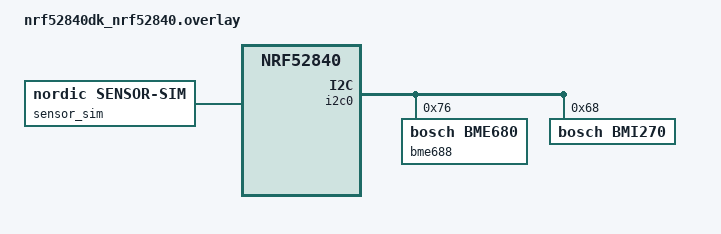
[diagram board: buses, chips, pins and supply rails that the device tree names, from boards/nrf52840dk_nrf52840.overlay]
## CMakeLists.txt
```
#
# Copyright (c) 2018 Nordic Semiconductor
#
# SPDX-License-Identifier: LicenseRef-Nordic-5-Clause
#
cmake_minimum_required(VERSION 3.20.0)

find_package(Zephyr REQUIRED HINTS $ENV{ZEPHYR_BASE})
project(sensor_node)

# NORDIC SDK APP START
target_sources(app PRIVATE
  src/main.c src/sensor_data_collector.c src/sensor_data_storage.c
)
target_include_directories(app PRIVATE inc)
# NORDIC SDK APP END
```

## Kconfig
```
#
# Copyright (c) 2018 Nordic Semiconductor
#
# SPDX-License-Identifier: LicenseRef-Nordic-5-Clause
#

source "Kconfig.zephyr"

menu "Sensor Node"

config BT_LBS_SECURITY_ENABLED
	bool "Enable security"
	default y
	select BT_SMP
	select BT_SETTINGS
	select FLASH
	select FLASH_PAGE_LAYOUT
	select FLASH_MAP
	select NVS
	select SETTINGS
	help
	  "Enable BLE security for the LED-Button service"
config CONNECTABLE_ADV_INTERVAL_MIN
	int "Connectable advertising minimum interval"
	default 4800
	help
	  Connectable advertising minimum interval in 0.625 milliseconds unit.

config CONNECTABLE_ADV_INTERVAL_MAX
	int "Connectable advertising maximum interval"
	default 4808
	help
	  Connectable advertising maximum interval in 0.625 milliseconds unit.
config APP_CONTROL_SAMPLING_INTERVAL_S
	int "sample interval [s]"
	range 10 5400
	default 10
	help
	  Time in seconds between sample data acquisition from sensors
config SIMULATED_SENSOR
	bool "Enable simulated sensor"
	default n
	help
	  In case you don't have environmental and IMU sensors, enabling this option will 
	  build a simulated sensor driver	
endmenu
```

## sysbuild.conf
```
SB_CONFIG_PARTITION_MANAGER=y
#Enable MCUboot bootloader support
SB_CONFIG_BOOTLOADER_MCUBOOT=y
#DO NOT FORGET TO USE YOUR OWN PRIVATE KEY FOR SIGNING THE IMAGE
#SB_CONFIG_BOOT_SIGNATURE_KEY_FILE="/home/my_ubuntu/my_precious_key/priv.pem"
```

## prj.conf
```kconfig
#
# Copyright (c) 2018 Nordic Semiconductor
#
# SPDX-License-Identifier: LicenseRef-Nordic-5-Clause
#
CONFIG_NCS_SAMPLES_DEFAULTS=y

CONFIG_BT=y
CONFIG_BT_PERIPHERAL=y
CONFIG_BT_DEVICE_NAME="Sensor Node"
CONFIG_BT_BUF_ACL_RX_SIZE=502
CONFIG_BT_BUF_ACL_TX_SIZE=502
CONFIG_BT_L2CAP_TX_MTU=498
CONFIG_BT_CTLR_DATA_LENGTH_MAX=251

# Enable the LBS service
CONFIG_BT_LBS=y
CONFIG_BT_LBS_POLL_BUTTON=y
CONFIG_DK_LIBRARY=y

CONFIG_SYSTEM_WORKQUEUE_STACK_SIZE=2048

#Enable Sensor API
CONFIG_SENSOR=y

#Enable NSMS Service
CONFIG_BT_NSMS=y

#Enable float string formatting
CONFIG_NEWLIB_LIBC=y
CONFIG_NEWLIB_LIBC_FLOAT_PRINTF=y
```

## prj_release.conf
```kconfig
#
# Copyright (c) 2018 Nordic Semiconductor
#
# SPDX-License-Identifier: LicenseRef-Nordic-5-Clause
#
CONFIG_NCS_SAMPLES_DEFAULTS=n

CONFIG_BT=y
CONFIG_BT_PERIPHERAL=y
CONFIG_BT_DEVICE_NAME="Sensor Node"
CONFIG_BT_BUF_ACL_RX_SIZE=502
CONFIG_BT_BUF_ACL_TX_SIZE=502
CONFIG_BT_L2CAP_TX_MTU=498
CONFIG_BT_CTLR_DATA_LENGTH_MAX=251

# Enable the LBS service
CONFIG_BT_LBS=y
CONFIG_BT_LBS_POLL_BUTTON=y
CONFIG_DK_LIBRARY=y

CONFIG_SYSTEM_WORKQUEUE_STACK_SIZE=2048

#Enable Sensor API
CONFIG_SENSOR=y

#Enable NSMS Service
CONFIG_BT_NSMS=y

#Enable float string formatting
CONFIG_NEWLIB_LIBC=y
CONFIG_NEWLIB_LIBC_FLOAT_PRINTF=y

#Power optimization
CONFIG_SERIAL=n
CONFIG_CONSOLE=n
CONFIG_UART_CONSOLE=n

#Request Low-Power Connection Parameters 
CONFIG_BT_PERIPHERAL_PREF_MIN_INT=100
CONFIG_BT_PERIPHERAL_PREF_MAX_INT=120
CONFIG_BT_PERIPHERAL_PREF_TIMEOUT=200
CONFIG_BT_PERIPHERAL_PREF_LATENCY=2

#Enable FOTA over Bluetooth LE
CONFIG_NCS_SAMPLE_MCUMGR_BT_OTA_DFU=y
```

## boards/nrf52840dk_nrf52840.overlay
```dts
// To get started, press Ctrl+Space to bring up the completion menu and view the available nodes.

// You can also use the buttons in the sidebar to perform actions on nodes.
// Actions currently available include:

// * Enabling / disabling the node
// * Adding the bus to a bus
// * Removing the node
// * Connecting ADC channels

// For more help, browse the DeviceTree documentation at https://docs.zephyrproject.org/latest/guides/dts/index.html
// You can also visit the nRF DeviceTree extension documentation at https://docs.nordicsemi.com/bundle/nrf-connect-vscode/page/guides/ncs_configure_app.html#devicetree-support-in-the-extension

/ {
	sensor_sim: sensor_sim{
		compatible = "nordic,sensor-sim";
		acc-signal = "wave";
		acc-wave-type = "triangle";
		acc-wave-amplitude = < 10 >;

	};
};

&i2c0 {
	status = "okay";

	bme688: bme688@76 {
		compatible = "bosch,bme680";
		status = "okay";
		reg = <0x76>;
	};

	bmi270: bmi270@68 {
		compatible = "bosch,bmi270";
		status = "okay";
		reg = <0x68>;
	};
};

/ {
	chosen {
		nordic,pm-ext-flash = &mx25r64;
	};
};
&usbd {
	status = "disabled";
};

&spi3 {
	status = "disabled";
};

&pwm0 {
	status = "disabled";
};

&spi1 {
	status = "disabled";
};
```

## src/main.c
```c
/*
 * Copyright (c) 2018 Nordic Semiconductor ASA
 *
 * SPDX-License-Identifier: LicenseRef-Nordic-5-Clause
 */

#include <zephyr/types.h>
#include <stddef.h>
#include <string.h>
#include <errno.h>
#include <zephyr/sys/printk.h>
#include <zephyr/sys/byteorder.h>
#include <zephyr/kernel.h>
#include <zephyr/drivers/gpio.h>
#include <soc.h>

#include <zephyr/bluetooth/bluetooth.h>
#include <zephyr/bluetooth/hci.h>
#include <zephyr/bluetooth/conn.h>
#include <zephyr/bluetooth/uuid.h>
#include <zephyr/bluetooth/gatt.h>

#include <bluetooth/services/lbs.h>

#include <zephyr/settings/settings.h>

#include <dk_buttons_and_leds.h>

#define DEVICE_NAME	CONFIG_BT_DEVICE_NAME
#define DEVICE_NAME_LEN (sizeof(DEVICE_NAME) - 1)

#define RUN_STATUS_LED	       DK_LED1
#define CON_STATUS_LED	       DK_LED2
#define RUN_LED_BLINK_INTERVAL 1000

#define USER_LED DK_LED3

#define USER_BUTTON DK_BTN1_MSK

static bool app_button_state;
static const struct bt_le_adv_param *connectable_ad_params =
	BT_LE_ADV_PARAM(BT_LE_ADV_OPT_CONNECTABLE,
			CONFIG_CONNECTABLE_ADV_INTERVAL_MIN,
			CONFIG_CONNECTABLE_ADV_INTERVAL_MAX,
			NULL);

static const struct bt_data ad[] = {
	BT_DATA_BYTES(BT_DATA_FLAGS, (BT_LE_AD_GENERAL | BT_LE_AD_NO_BREDR)),
	BT_DATA(BT_DATA_NAME_COMPLETE, DEVICE_NAME, DEVICE_NAME_LEN),
};

static const struct bt_data sd[] = {
	BT_DATA_BYTES(BT_DATA_UUID128_ALL, BT_UUID_LBS_VAL),
};

static void connected(struct bt_conn *conn, uint8_t err)
{
	if (err) {
		printk("Connection failed (err %u)\n", err);
		return;
	}

	printk("Connected\n");

	dk_set_led_on(CON_STATUS_LED);
}

static void disconnected(struct bt_conn *conn, uint8_t reason)
{
	printk("Disconnected (reason %u)\n", reason);

	dk_set_led_off(CON_STATUS_LED);
}

#ifdef CONFIG_BT_LBS_SECURITY_ENABLED
static void security_changed(struct bt_conn *conn, bt_security_t level, enum bt_security_err err)
{
	char addr[BT_ADDR_LE_STR_LEN];

	bt_addr_le_to_str(bt_conn_get_dst(conn), addr, sizeof(addr));

	if (!err) {
		printk("Security changed: %s level %u\n", addr, level);
	} else {
		printk("Security failed: %s level %u err %d\n", addr, level, err);
	}
}
#endif

BT_CONN_CB_DEFINE(conn_callbacks) = {
	.connected = connected,
	.disconnected = disconnected,
#ifdef CONFIG_BT_LBS_SECURITY_ENABLED
	.security_changed = security_changed,
#endif
};

#if defined(CONFIG_BT_LBS_SECURITY_ENABLED)
static void auth_passkey_display(struct bt_conn *conn, unsigned int passkey)
{
	char addr[BT_ADDR_LE_STR_LEN];

	bt_addr_le_to_str(bt_conn_get_dst(conn), addr, sizeof(addr));

	printk("Passkey for %s: %06u\n", addr, passkey);
}

static void auth_cancel(struct bt_conn *conn)
{
	char addr[BT_ADDR_LE_STR_LEN];

	bt_addr_le_to_str(bt_conn_get_dst(conn), addr, sizeof(addr));

	printk("Pairing cancelled: %s\n", addr);
}

static void pairing_complete(struct bt_conn *conn, bool bonded)
{
	char addr[BT_ADDR_LE_STR_LEN];

	bt_addr_le_to_str(bt_conn_get_dst(conn), addr, sizeof(addr));

	printk("Pairing completed: %s, bonded: %d\n", addr, bonded);
}

static void pairing_failed(struct bt_conn *conn, enum bt_security_err reason)
{
	char addr[BT_ADDR_LE_STR_LEN];

	bt_addr_le_to_str(bt_conn_get_dst(conn), addr, sizeof(addr));

	printk("Pairing failed conn: %s, reason %d\n", addr, reason);
}

static struct bt_conn_auth_cb conn_auth_callbacks = {
	.passkey_display = auth_passkey_display,
	.cancel = auth_cancel,
};

static struct bt_conn_auth_info_cb conn_auth_info_callbacks = {.pairing_complete = pairing_complete,
							       .pairing_failed = pairing_failed};
#else
static struct bt_conn_auth_cb conn_auth_callbacks;
static struct bt_conn_auth_info_cb conn_auth_info_callbacks;
#endif

static void app_led_cb(bool led_state)
{
	dk_set_led(USER_LED, led_state);
}

static bool app_button_cb(void)
{
	return app_button_state;
}

static struct bt_lbs_cb lbs_callbacs = {
	.led_cb = app_led_cb,
	.button_cb = app_button_cb,
};

static void button_changed(uint32_t button_state, uint32_t has_changed)
{
	if (has_changed & USER_BUTTON) {
		uint32_t user_button_state = button_state & USER_BUTTON;

		bt_lbs_send_button_state(user_button_state);
		app_button_state = user_button_state ? true : false;
	}
}

static int init_button(void)
{
	int err;

	err = dk_buttons_init(button_changed);
	if (err) {
		printk("Cannot init buttons (err: %d)\n", err);
	}

	return err;
}

int main(void)
{
	int blink_status = 0;
	int err;

	printk("Starting Bluetooth Peripheral LBS example\n");

	err = dk_leds_init();
	if (err) {
		printk("LEDs init failed (err %d)\n", err);
		return 0;
	}

	err = init_button();
	if (err) {
		printk("Button init failed (err %d)\n", err);
		return 0;
	}

	if (IS_ENABLED(CONFIG_BT_LBS_SECURITY_ENABLED)) {
		err = bt_conn_auth_cb_register(&conn_auth_callbacks);
		if (err) {
			printk("Failed to register authorization callbacks.\n");
			return 0;
		}

		err = bt_conn_auth_info_cb_register(&conn_auth_info_callbacks);
		if (err) {
			printk("Failed to register authorization info callbacks.\n");
			return 0;
		}
	}

	err = bt_enable(NULL);
	if (err) {
		printk("Bluetooth init failed (err %d)\n", err);
		return 0;
	}

	printk("Bluetooth initialized\n");

	if (IS_ENABLED(CONFIG_SETTINGS)) {
		settings_load();
	}

	err = bt_lbs_init(&lbs_callbacs);
	if (err) {
		printk("Failed to init LBS (err:%d)\n", err);
		return 0;
	}

	err = bt_le_adv_start(connectable_ad_params, ad, ARRAY_SIZE(ad), sd, ARRAY_SIZE(sd));
	if (err) {
		printk("Advertising failed to start (err %d)\n", err);
		return 0;
	}

	printk("Advertising successfully started\n");

	for (;;) {
		dk_set_led(RUN_STATUS_LED, (++blink_status) % 2);
		k_sleep(K_MSEC(RUN_LED_BLINK_INTERVAL));
	}
}
```

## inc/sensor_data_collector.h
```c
#ifndef SENSOR_DATA_COLLECTOR_H
#define SENSOR_DATA_COLLECTOR_H
#include <zephyr/drivers/sensor.h>

struct k_msgq *get_sensor_readings_queue(void);

typedef struct {
	struct sensor_value temp;     // BME688
	struct sensor_value press;    // BME688
	struct sensor_value humidity; // BME688
#ifndef CONFIG_SIMULATED_SENSOR
	struct sensor_value gas_res; // BME688
	struct sensor_value gyr[3];  // BMI270
#endif
	struct sensor_value acc[3]; // BMI270
} sensorsreadings;

#ifndef CONFIG_SIMULATED_SENSOR
#define ENV_VALUES_CNT 4
#else
#define ENV_VALUES_CNT 3
#endif

#endif
```

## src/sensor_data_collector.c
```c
#include <stdio.h>
#include <zephyr/kernel.h>
#include <zephyr/device.h>
#include <zephyr/devicetree.h>
#include <zephyr/drivers/sensor.h>
#include <zephyr/bluetooth/conn.h>
#include <bluetooth/services/nsms.h>
#include "sensor_data_collector.h"

#define SENSOR_THREAD_PRIORITY	7
#define SENSOR_THREAD_STACKSIZE 1024
#define BT_UUID_CSERVICE_VAL	BT_UUID_128_ENCODE(0xc2768000, 0xc410, 0x47e5, 0xbda9, 0x97fa0b0b9a99)
#define BT_UUID_INTERVAL_VAL	BT_UUID_128_ENCODE(0xc2768001, 0x1212, 0xefde, 0x1523, 0x785feabcd123)
#define BT_UUID_C_SERVICE	BT_UUID_DECLARE_128(BT_UUID_CSERVICE_VAL)
#define BT_UUID_S_INTERVAL	BT_UUID_DECLARE_128(BT_UUID_INTERVAL_VAL)
#define BUF_SIZE		64
K_MSGQ_DEFINE(sensor_readings_queue, sizeof(sensorsreadings), 16, 4);
BT_NSMS_DEF(nsms_imu, "IMU", false, "Unknown", BUF_SIZE);
BT_NSMS_DEF(nsms_env, "Environmental", false, "Unknown", BUF_SIZE);
static struct bt_conn *current_conn = NULL;
static int16_t sampling_interval = CONFIG_APP_CONTROL_SAMPLING_INTERVAL_S;
extern const k_tid_t sensor_data_collector_id;
static ssize_t sampling_interval_read(struct bt_conn *conn, const struct bt_gatt_attr *attr,
				      void *buf, uint16_t len, uint16_t offset)
{
	return bt_gatt_attr_read(conn, attr, buf, len, offset, &sampling_interval,
				 sizeof(sampling_interval));
}

static ssize_t sampling_interval_write(struct bt_conn *conn, const struct bt_gatt_attr *attr,
				       const void *buf, uint16_t len, uint16_t offset,
				       uint8_t flags)
{
	uint16_t new_interval;
	if (len != sizeof(sampling_interval)) {
		return BT_GATT_ERR(BT_ATT_ERR_INVALID_ATTRIBUTE_LEN);
	}

	memcpy(&new_interval, buf, sizeof(new_interval));

	if (new_interval < 10 || new_interval > 5400) {
		printk("Sampling interval out of allowed range: %d\n", new_interval);
		return BT_GATT_ERR(BT_ATT_ERR_INVALID_ATTRIBUTE_LEN);
	}

	sampling_interval = new_interval;
	k_wakeup(sensor_data_collector_id);
	printk("New sampling interval %d seconds\n", new_interval);
	return len;
}

BT_GATT_SERVICE_DEFINE(
	custom_interval_svc, BT_GATT_PRIMARY_SERVICE(BT_UUID_C_SERVICE),
	BT_GATT_CHARACTERISTIC(BT_UUID_S_INTERVAL, // Sampling Interval Characteristic
			       BT_GATT_CHRC_READ | BT_GATT_CHRC_WRITE,
			       BT_GATT_PERM_READ | BT_GATT_PERM_WRITE, sampling_interval_read,
			       sampling_interval_write, &sampling_interval)

);
static void connected(struct bt_conn *conn, uint8_t err)
{
	current_conn = bt_conn_ref(conn);
}

static void disconnected(struct bt_conn *conn, uint8_t reason)
{
	if (current_conn) {
		bt_conn_unref(current_conn);
		current_conn = NULL;
	}
}

BT_CONN_CB_DEFINE(conn_callbacks1) = {
	.connected = connected,
	.disconnected = disconnected,

};
static bool send_sensor_value(const struct sensor_value *val, size_t size, const char *channel)
{
	float float_data[size];
	char buf[BUF_SIZE];

	int len = sprintf(buf, "%s ", channel);

	for (size_t i = 0; i < size; i++) {
		float_data[i] = sensor_value_to_float(&val[i]);

		len += sprintf(buf + len, "%.6f ", (double)float_data[i]);
	}

	if (!strcmp(channel, "gyr")) {
		bt_nsms_set_status(&nsms_imu, buf);
	} else if (!strcmp(channel, "acc")) {
		bt_nsms_set_status(&nsms_imu, buf);
	} else {
		bt_nsms_set_status(&nsms_env, buf);
	}

	return true;
}

#ifdef CONFIG_SIMULATED_SENSOR
static const struct device *get_simulated_sensor(void)
{
	const struct device *const dev = DEVICE_DT_GET(DT_NODELABEL(sensor_sim));

	if (dev == NULL) {
		/* No such node, or the node does not have status "okay". */
		printk("\nError: no device found.\n");
		return NULL;
	}

	if (!device_is_ready(dev)) {
		printk("\nError: Device \"%s\" is not ready; "
		       "check the driver initialization logs for errors.\n",
		       dev->name);
		return NULL;
	}

	printk("Found device \"%s\", getting sensor data\n", dev->name);
	return dev;
}
#else
static const struct device *get_bme688_sensor(void)
{
	const struct device *const dev = DEVICE_DT_GET(DT_NODELABEL(bme688));
	;

	if (dev == NULL) {
		/* No such node, or the node does not have status "okay". */
		printk("\nError: no device found.\n");
		return NULL;
	}

	if (!device_is_ready(dev)) {
		printk("\nError: Device \"%s\" is not ready; "
		       "check the driver initialization logs for errors.\n",
		       dev->name);
		return NULL;
	}

	printk("Found device \"%s\", getting sensor data\n", dev->name);
	return dev;
}

static const struct device *get_bmi270_sensor(void)
{
	const struct device *const dev = DEVICE_DT_GET(DT_NODELABEL(bmi270));
	struct sensor_value full_scale, sampling_freq, oversampling;

	if (dev == NULL) {
		/* No such node, or the node does not have status "okay". */
		printk("\nError: no device found.\n");
		return NULL;
	}

	if (!device_is_ready(dev)) {
		printk("\nError: Device \"%s\" is not ready; "
		       "check the driver initialization logs for errors.\n",
		       dev->name);
		return NULL;
	}
	/* Setting scale in G, due to loss of precision if the SI unit m/s^2
	 * is used
	 */
	full_scale.val1 = 2; /* G */
	full_scale.val2 = 0;
	sampling_freq.val1 = 100; /* Hz. Performance mode */
	sampling_freq.val2 = 0;
	oversampling.val1 = 1; /* Normal mode */
	oversampling.val2 = 0;

	sensor_attr_set(dev, SENSOR_CHAN_ACCEL_XYZ, SENSOR_ATTR_FULL_SCALE, &full_scale);
	sensor_attr_set(dev, SENSOR_CHAN_ACCEL_XYZ, SENSOR_ATTR_OVERSAMPLING, &oversampling);
	/* Set sampling frequency last as this also sets the appropriate
	 * power mode. If already sampling, change to 0.0Hz before changing
	 * other attributes
	 */
	sensor_attr_set(dev, SENSOR_CHAN_ACCEL_XYZ, SENSOR_ATTR_SAMPLING_FREQUENCY, &sampling_freq);

	/* Setting scale in degrees/s to match the sensor scale */
	full_scale.val1 = 500; /* dps */
	full_scale.val2 = 0;
	sampling_freq.val1 = 100; /* Hz. Performance mode */
	sampling_freq.val2 = 0;
	oversampling.val1 = 1; /* Normal mode */
	oversampling.val2 = 0;

	sensor_attr_set(dev, SENSOR_CHAN_GYRO_XYZ, SENSOR_ATTR_FULL_SCALE, &full_scale);
	sensor_attr_set(dev, SENSOR_CHAN_GYRO_XYZ, SENSOR_ATTR_OVERSAMPLING, &oversampling);
	/* Set sampling frequency last as this also sets the appropriate
	 * power mode. If already sampling, change sampling frequency to
	 * 0.0Hz before changing other attributes
	 */
	sensor_attr_set(dev, SENSOR_CHAN_GYRO_XYZ, SENSOR_ATTR_SAMPLING_FREQUENCY, &sampling_freq);
	printk("Found device \"%s\", getting sensor data\n", dev->name);
	return dev;
}

#endif

int sensor_data_collector(void)
{
#ifdef CONFIG_SIMULATED_SENSOR    
	const struct device *sim_dev = get_simulated_sensor();

	if (sim_dev == NULL) {
		return 0;
	}

	while (1) {
		sensorsreadings value;
		sensor_sample_fetch(sim_dev);
		// Simulated sensor
		sensor_channel_get(sim_dev, SENSOR_CHAN_AMBIENT_TEMP, &value.temp);
		sensor_channel_get(sim_dev, SENSOR_CHAN_PRESS, &value.press);
		sensor_channel_get(sim_dev, SENSOR_CHAN_HUMIDITY, &value.humidity);
		sensor_channel_get(sim_dev, SENSOR_CHAN_ACCEL_XYZ, value.acc);

		printk("Sensor Thread Reporting!\n");
		printk("AX: %d.%06d; AY: %d.%06d; AZ: %d.%06d\n", value.acc[0].val1,
		       value.acc[0].val2, value.acc[1].val1, value.acc[1].val2, value.acc[2].val1,
		       value.acc[2].val2);
		printk("T: %d.%06d; P: %d.%06d; H: %d.%06d\n", value.temp.val1, value.temp.val2,
		       value.press.val1, value.press.val2, value.humidity.val1,
		       value.humidity.val2);
		if (current_conn != NULL) {
			send_sensor_value(&value.temp, 1, "temp");
			send_sensor_value(&value.press, 1, "press");
			send_sensor_value(&value.humidity, 1, "humidity");
			send_sensor_value(value.acc, 3, "acc");
		}
		int ret = k_msgq_put(&sensor_readings_queue, &value, K_NO_WAIT);
		if (ret) {
			printk("Return value from k_msgq_put = %d", ret);
		}						   
		k_sleep(K_SECONDS(sampling_interval));
	}

#else
	const struct device *dev_bme688 = get_bme688_sensor();
	const struct device *dev_bmi270 = get_bmi270_sensor();
	if (dev_bme688 == NULL) {
		return 0;
	}
	if (dev_bmi270 == NULL) {
		return 0;
	}
	while (1) {
		sensorsreadings value;
		sensor_sample_fetch(dev_bmi270);
		sensor_sample_fetch(dev_bme688);

		sensor_channel_get(dev_bme688, SENSOR_CHAN_AMBIENT_TEMP, &value.temp);
		sensor_channel_get(dev_bme688, SENSOR_CHAN_PRESS, &value.press);
		sensor_channel_get(dev_bme688, SENSOR_CHAN_HUMIDITY, &value.humidity);
		sensor_channel_get(dev_bme688, SENSOR_CHAN_GAS_RES, &value.gas_res);
		sensor_channel_get(dev_bmi270, SENSOR_CHAN_ACCEL_XYZ, value.acc);
		sensor_channel_get(dev_bmi270, SENSOR_CHAN_GYRO_XYZ, value.gyr);

		printk("Sensor Thread Reporting!\n");
		printk("AX: %d.%06d; AY: %d.%06d; AZ: %d.%06d; "
		       "GX: %d.%06d; GY: %d.%06d; GZ: %d.%06d;\n",
		       value.acc[0].val1, value.acc[0].val2, value.acc[1].val1, value.acc[1].val2,
		       value.acc[2].val1, value.acc[2].val2, value.gyr[0].val1, value.gyr[0].val2,
		       value.gyr[1].val1, value.gyr[1].val2, value.gyr[2].val1, value.gyr[2].val2);
		printk("T: %d.%06d; P: %d.%06d; H: %d.%06d; G: %d.%06d\n", value.temp.val1,
		       value.temp.val2, value.press.val1, value.press.val2, value.humidity.val1,
		       value.humidity.val2, value.gas_res.val1, value.gas_res.val2);
		if (current_conn != NULL) {
			send_sensor_value(&value.temp, 1, "temp");
			send_sensor_value(&value.press, 1, "press");
			send_sensor_value(&value.humidity, 1, "humidity");
			send_sensor_value(&value.gas_res, 1, "gas_res");
			send_sensor_value(value.acc, 3, "acc");
			send_sensor_value(value.gyr, 3, "gyr");
		}
		int ret = k_msgq_put(&sensor_readings_queue, &value, K_NO_WAIT);
		if (ret) {
			printk("Return value from k_msgq_put = %d", ret);
		}							   
		k_sleep(K_SECONDS(sampling_interval));
	}

#endif
}
struct k_msgq *get_sensor_readings_queue(void)
{

	return &sensor_readings_queue;
}
K_THREAD_DEFINE(sensor_data_collector_id, SENSOR_THREAD_STACKSIZE, sensor_data_collector, NULL,
		NULL, NULL, SENSOR_THREAD_PRIORITY, 0, 1000);
```

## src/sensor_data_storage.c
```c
#include <stdio.h>
#include <string.h>
#include <zephyr/kernel.h>
#include <zephyr/drivers/flash.h>
#include <zephyr/storage/flash_map.h>
#include <zephyr/fs/nvs.h>
#include <zephyr/bluetooth/conn.h>
#include <zephyr/bluetooth/uuid.h>
#include <zephyr/bluetooth/gatt.h>

#include "sensor_data_collector.h"
#define STORAGE_THREAD_STACKSIZE 1024
#define STORAGE_THREAD_PRIORITY	 7
#define MTX_LOCK_WAIT_TIME	 K_MSEC(200)

/* Partition selection for where to store the data */
#define NVS_PARTITION		 sensor_data_ex_partition
#define NVS_PARTITION_DEVICE	 FIXED_PARTITION_DEVICE(NVS_PARTITION)
#define NVS_PARTITION_OFFSET	 FIXED_PARTITION_OFFSET(NVS_PARTITION)
#define NVS_PARTITION_SIZE	 FIXED_PARTITION_SIZE(NVS_PARTITION)
#define DATA_SIZE_MSG		 "use uint16_t little endian as input"
#define NO_DATA_MSG		 "No data"
#define ENV_NVS_ID		 0x859
#define BT_UUID_PSN_VAL BT_UUID_128_ENCODE(0xde550000, 0xc9f9, 0x4f0d, 0xa6e1, 0x766437949322)

#define BT_UUID_PSN_READ_REQ_VAL                                                                   \
	BT_UUID_128_ENCODE(0xde550001, 0xacb6, 0x4c73, 0x8445, 0x2563acbb43c2)

#define BT_UUID_PSN_READ_VAL	 BT_UUID_128_ENCODE(0xde550002, 0xacb6, 0x4c73, 0x8445, 0x2563acbb43c2)
#define BT_UUID_PSN_SERVICE	 BT_UUID_DECLARE_128(BT_UUID_PSN_VAL)
#define BT_UUID_PSN_READ_REQ	 BT_UUID_DECLARE_128(BT_UUID_PSN_READ_REQ_VAL)
#define BT_UUID_PSN_READ	 BT_UUID_DECLARE_128(BT_UUID_PSN_READ_VAL)
#define TMP_BUF_SIZE		 64
#define XFER_BUF_SIZE		 250

static K_MUTEX_DEFINE(nvs_mtx);
static uint32_t latest_id;
static struct nvs_fs fs = {
	.flash_device = NVS_PARTITION_DEVICE,
	.offset = NVS_PARTITION_OFFSET,
};

/* environmental sensor data storage chunk*/
struct env_storage_chunk {
	uint32_t id;
	struct sensor_value values[ENV_VALUES_CNT];
};
static char xfer_buf[XFER_BUF_SIZE];
static int xfer_cnt;
static int xfer_read_id;
static uint16_t xfer_depth;



static ssize_t bt_psn_data_req(struct bt_conn *conn, const struct bt_gatt_attr *attr,
			       const void *buf, uint16_t len, uint16_t offset, uint8_t flags);

BT_GATT_SERVICE_DEFINE(psn_env_svc, BT_GATT_PRIMARY_SERVICE(BT_UUID_PSN_SERVICE),
		       BT_GATT_CHARACTERISTIC(BT_UUID_PSN_READ, BT_GATT_CHRC_NOTIFY,
					      BT_GATT_PERM_READ, NULL, NULL, NULL),
		       BT_GATT_CCC(NULL, BT_GATT_PERM_READ | BT_GATT_PERM_WRITE),
		       BT_GATT_CUD("Stored Env. Data", BT_GATT_PERM_READ),
		       BT_GATT_CHARACTERISTIC(BT_UUID_PSN_READ_REQ, BT_GATT_CHRC_WRITE,
					      BT_GATT_PERM_READ | BT_GATT_PERM_WRITE, NULL,
					      bt_psn_data_req, NULL),
		       BT_GATT_CCC(NULL, BT_GATT_PERM_READ),
		       BT_GATT_CUD("Stored Env. Data Request", BT_GATT_PERM_READ), );

static const struct bt_gatt_attr *psn_read_attr = &psn_env_svc.attrs[2];

size_t env_get_history(char *print_buf, const uint16_t depth)
{
	struct env_storage_chunk env_chunk;

	k_mutex_lock(&nvs_mtx, MTX_LOCK_WAIT_TIME);
	int rc = nvs_read_hist(&fs, ENV_NVS_ID, &env_chunk, sizeof(env_chunk), depth);

	k_mutex_unlock(&nvs_mtx);

	if (rc < 0) {
		return -EOVERFLOW;
	}
	int len = sprintf(print_buf, "%d ", env_chunk.id);

	for (size_t i = 0; i < ENV_VALUES_CNT; i++) {
		float tmp = sensor_value_to_float(&env_chunk.values[i]);

		len += sprintf(print_buf + len, "%.6f ", (double)tmp);
	}

	return len;
}

static void send_tail(struct bt_conn *conn, void *user_data)
{
	ARG_UNUSED(user_data);

	char tmp_buf[TMP_BUF_SIZE];
	int pos = 0;

	if (latest_id == 0) {
		bt_gatt_notify(conn, psn_read_attr, NO_DATA_MSG, sizeof(NO_DATA_MSG) - 1);
		printk("%s\n", NO_DATA_MSG);
	}

	while (xfer_cnt < xfer_depth) {
		int len = env_get_history(tmp_buf, (latest_id - xfer_read_id));

		if (len < 0) {
			xfer_depth = xfer_cnt;
			break;
		}

		if ((XFER_BUF_SIZE - pos) > len) {
			memcpy(xfer_buf + pos, tmp_buf, len);
			pos += len;
			xfer_read_id--;
			xfer_cnt++;
		} else {
			break;
		}
	}

	if (pos > 0) {
		struct bt_gatt_notify_params params = {
			.attr = psn_read_attr,
			.data = xfer_buf,
			.len = pos,
			.func = send_tail,
		};
		bt_gatt_notify_cb(conn, &params);
	}
}

static ssize_t bt_psn_data_req(struct bt_conn *conn, const struct bt_gatt_attr *attr,
			       const void *buf, uint16_t len, uint16_t offset, uint8_t flags)
{
	if (len != sizeof(uint16_t)) {
		bt_gatt_notify(conn, psn_read_attr, DATA_SIZE_MSG, sizeof(DATA_SIZE_MSG) - 1);
		printk("%s\n", DATA_SIZE_MSG);
		return BT_GATT_ERR(BT_ATT_ERR_INVALID_ATTRIBUTE_LEN);
	}

	xfer_cnt = 0;
	xfer_depth = *((uint16_t *)buf);

	xfer_read_id = latest_id;
	send_tail(conn, NULL);

	return 0;
}
static void sensor_data_storage(void)
{
	struct k_msgq *sensor_queue;
	sensorsreadings value;
	struct env_storage_chunk latest_env;
	struct flash_pages_info info;

	if (!device_is_ready(fs.flash_device)) {
		printk("Flash device %s is not ready.\n", fs.flash_device->name);
		return;
	}
	int rc = flash_get_page_info_by_offs(fs.flash_device, fs.offset, &info);

	if (rc) {
		printk("Unable to get page info.\n");
		return;
	}
	fs.sector_size = info.size;
	fs.sector_count = NVS_PARTITION_SIZE / fs.sector_size;

	rc = nvs_mount(&fs);
	if (rc) {
		printk("Flash Init failed.\n");
		return;
	}

	rc = nvs_read(&fs, ENV_NVS_ID, &latest_env, sizeof(latest_env));
	if (rc > 0) {
		printk("NVS latest id %d\n", latest_env.id);
		latest_id = latest_env.id;
	} else {
		latest_id = 0;
	}

	sensor_queue = get_sensor_readings_queue();
	if (sensor_queue == NULL) {
		printk("Error getting samples queue\n");
	}
	while (1) {

		int ret = k_msgq_get(sensor_queue, &value, K_FOREVER);
		if (ret) {
			printk("Return value from k_msgq_get = %d\n", ret);
		}
		// Populate the latest event
		latest_env.id = ++latest_id;
		latest_env.values[0] = value.temp;
		latest_env.values[1] = value.press;
		latest_env.values[2] = value.humidity;
#ifndef CONFIG_SIMULATED_SENSOR
		latest_env.values[3] = value.gas_res;
#endif
		k_mutex_lock(&nvs_mtx, MTX_LOCK_WAIT_TIME);
		nvs_write(&fs, ENV_NVS_ID, &latest_env, sizeof(latest_env));
		k_mutex_unlock(&nvs_mtx);
	}
}

K_THREAD_DEFINE(sensor_data_storage_id, STORAGE_THREAD_STACKSIZE, sensor_data_storage, NULL, NULL,
		NULL, STORAGE_THREAD_PRIORITY, 0, 2000);
```
